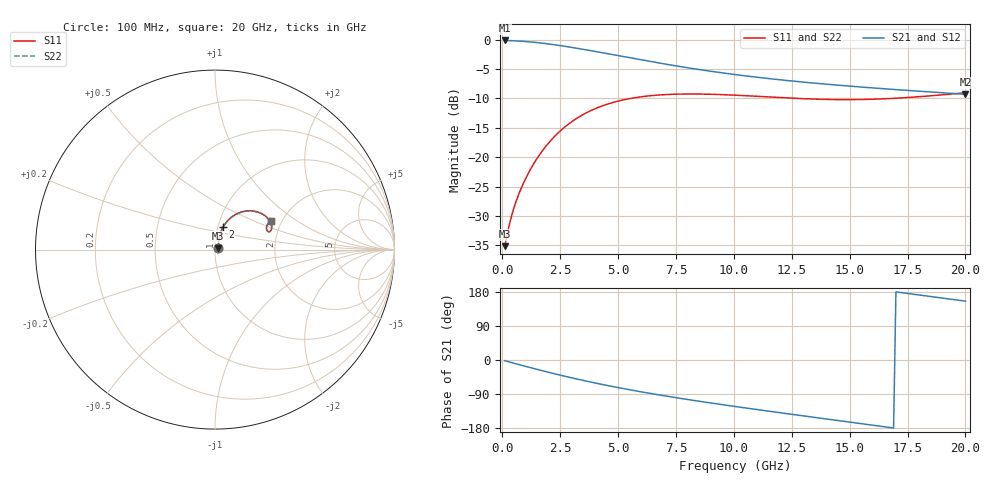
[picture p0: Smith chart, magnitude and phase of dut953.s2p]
! Touchstone file exported from HFSS 2024.1.0
!  File:  C:/UserFiles/LocalFiles/RDL_TSV_Batchsim/temp_RDL_TSV_953_1779965839.aedt
!  Generated:  07:12:12 PM May 28, 2026
!  Design:  RDL_TSV
!  Project:  temp_RDL_TSV_953_1779965839
!  Setup:  Setup1
!  Solution:  Sweep
! Variables:
!  dtsv = 5.3um
!  hbump = 3um
!  htsv = 71.05um
!  ldown = 159.93um
!  lrdl = 629.1um
!  p = 40
!  p1 = 59.15um
!  rhole = 10um
!  subl = 2996.19um
!  t = 450um
!  tdown = 3.12um
!  trdl = 3.26um
!  viad = 10um
!  wdown = 27.84um
!  wrdl = 22.79um
!  xbump = 18um
# GHz S MA R 50.000000
! Terminal data exported
! Port[1] = TM1_1_T1
! Port[2] = TM1_4_T1
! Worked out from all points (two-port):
!   200 points, 100 MHz to 20 GHz, reference 50 ohm
!   highest |S21| = -0.14 dB at 100 MHz (marker M1); lowest = -9.3 dB at 20 GHz (marker M2)
!   |S21| within 3 dB of the highest: start of sweep to 5.574 GHz
!   lowest |S11| = -35.1 dB at 100 MHz (marker M3), VSWR 1.04, Z = 51.6 + j0.705 ohm
!   |S11| at or under -10 dB: start of sweep to 5.55 GHz; 12.72 GHz to 16.86 GHz (4.135 GHz wide, 28 % of centre)
!   |S22| runs from -35.1 to -9.1 dB; largest |S21 - S12| = 1.6e-14
!   S11 on the Smith chart (normalised r, x): 100 MHz: 1.03, +0.01; 2 GHz: 1.06, +0.27; 20 GHz: 1.76, +0.65
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0.1  0.0175 23.0  0.9837 -1.7  0.9837 -1.7  0.0175 22.9
! Gamma 0 0 0 0
! Port Impedance 50 0 50 0
0.3  0.02644 47.8  0.9811 -5.1  0.9811 -5.1  0.02644 47.8
0.4  0.03164 53.8  0.9793 -6.8  0.9793 -6.8  0.03164 53.8
0.6  0.04229 61.2  0.9751 -10.1  0.9751 -10.1  0.04229 61.2
0.8  0.05342 65.8  0.9699 -13.4  0.9699 -13.4  0.05342 65.8
1.1  0.07141 69.7  0.9601 -18.3  0.9601 -18.3  0.0714 69.6
1.4  0.09082 71.2  0.9481 -23.2  0.9481 -23.2  0.09079 71.2
2  0.1322 70.3  0.9185 -32.5  0.9185 -32.5  0.1321 70.2
2.7  0.1806 65.8  0.8776 -42.9  0.8776 -42.9  0.1805 65.7
3.5  0.231 59.0  0.8265 -54.0  0.8265 -54.0  0.2307 58.9
4.2  0.2677 52.7  0.7811 -63.1  0.7811 -63.1  0.2673 52.6
4.9  0.2965 46.7  0.7368 -71.7  0.7368 -71.7  0.296 46.6
5.8  0.3222 39.7  0.6835 -81.9  0.6835 -81.9  0.3217 39.7
6.8  0.3384 33.2  0.6306 -92.4  0.6306 -92.4  0.3378 33.1
8.4  0.3447 25.3  0.5603 -107.9  0.5603 -107.9  0.344 25.3
10.1  0.3365 20.3  0.503 -123.1  0.503 -123.1  0.3357 20.3
11.7  0.3237 18.4  0.4619 -136.7  0.4619 -136.7  0.323 18.3
13.4  0.3124 18.9  0.4278 -150.8  0.4278 -150.8  0.3116 18.8
15  0.3087 21.0  0.4021 -163.9  0.4021 -163.9  0.3079 21.0
16.7  0.3151 23.9  0.3793 -177.8  0.3793 -177.8  0.3144 23.9
18.3  0.3303 26.1  0.3606 169.1  0.3606 169.1  0.3297 26.2
20  0.3528 27.2  0.3429 155.3  0.3429 155.3  0.3522 27.2
